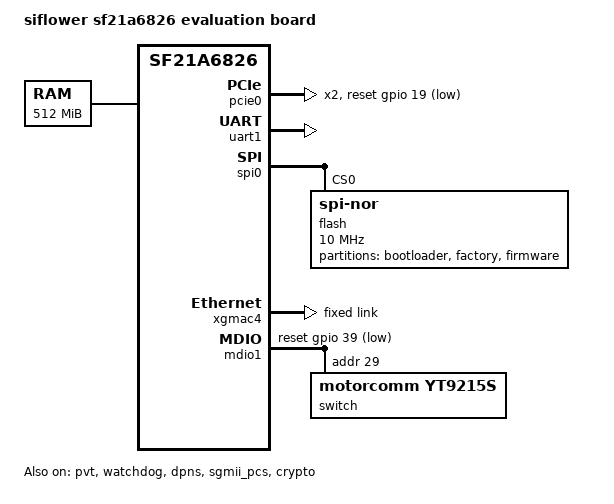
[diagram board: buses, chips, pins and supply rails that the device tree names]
/*
 * Copyright 2022 SiFlower Corporation.
 */

/dts-v1/;
#include "sf21a6826-fullmask.dtsi"

/ {
	model = "siflower sf21a6826 evaluation board";
	compatible = "siflower,sf21a6826-pw231_demo_switch", "siflower,sf21a6826";

	chosen {
		bootargs = "earlycon";
		stdout-path = "serial1:115200n8";
	};

	memory@20000000 {
		device_type = "memory";
		reg = <0x0 0x20000000 0x0 0x20000000>;
	};
};

&pvt {
	status = "okay";
};

&pcie0 {
	reset-gpios = <&gpio 19 GPIO_ACTIVE_LOW>;
	reset-ms = <100>;
	num-lanes = <2>;
	lane-mode = <1>;
	status = "okay";

	pcie@0,0 {
		reg = <0x0000 0 0 0 0>;
		#address-cells = <3>;
		#size-cells = <2>;

		wifi@0,0 {
			reg = <0x0 0 0 0 0>;
			nvmem-cells = <&mtd_mac_address>, <&mtd_wifi_version>, <&mtd_wifi_info>, <&mtd_rssi_offset>, <&mtd_refpower>, <&mtd_calipower>;
			nvmem-cell-names = "mac-address", "wifi-version", "wifi-info", "rssi-offset", "refpower", "calipower";
			mac-address-increment = <2>;
		};

		wifi@0,1 {
			reg = <0x100 0 0 0 0>;
			nvmem-cells = <&mtd_mac_address>, <&mtd_wifi_version>, <&mtd_wifi_info>, <&mtd_rssi_offset>, <&mtd_refpower>, <&mtd_calipower>;
			nvmem-cell-names = "mac-address", "wifi-version", "wifi-info", "rssi-offset", "refpower", "calipower";
			mac-address-increment = <6>;
		};
	};
};

&pcie1 {
	reset-ms = <100>;
	num-lanes = <1>;
	lane-mode = <0>;
	status = "disabled";
};

&watchdog {
	status = "okay";
};

&uart1 {
	status = "okay";
};

&spi0 {
	status = "okay";
	flash@0 {
		compatible = "jedec,spi-nor";
		reg = <0>;
		spi-max-frequency = <10000000>;
		spi-tx-bus-width = <4>;
		spi-rx-bus-width = <4>;
		#address-cells = <1>;
		#size-cells = <1>;
	        partitions {
	            compatible = "fixed-partitions";
		        #address-cells = <1>;
			    #size-cells = <1>;

				partition0@0 {
					label = "bootloader";
					reg = <0x0 0x90000>;
					read-only;
				};
				factory:partition1@90000 {
					label = "factory";
					reg = <0x90000 0x10000>;
				};
				partition2@a0000 {
					label = "firmware";
					reg = <0xa0000 (-1)>;
					compatible = "denx,fit";
				};
			};
	};
};

&i2c0 {
	status = "disabled";
};

&xgmac4 {
	status = "okay";
	nvmem-cells = <&mtd_mac_address>;
	nvmem-cell-names = "mac-address";

	fixed-link {
		speed = <2500>;
		full-duplex;
		pause;
		asym-pause;
	};
};

&mdio1 {
	reset-gpios = <&gpio 39 GPIO_ACTIVE_LOW>;
	reset-delay-us = <10000>;
	reset-post-delay-us = <100000>;

	switch@1d {
		compatible = "motorcomm,yt9215s";
		reg = <0x1d>;
	};
};

&dpns {
	status = "okay";
};

&edma {
	status = "okay";
};

&sgmii_pcs {
	status = "okay";
};

&crypto {
	status = "okay";
};

#include "sf21a6826-factory.dtsi"
